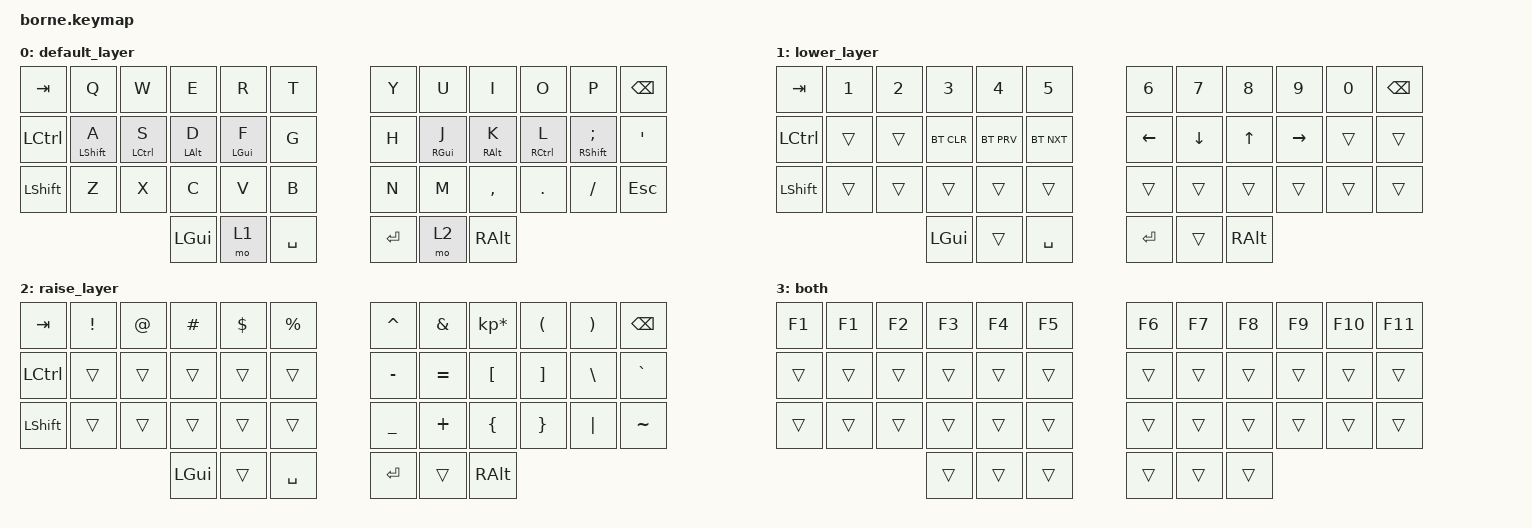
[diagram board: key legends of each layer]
/*
 * Copyright (c) 2020 The ZMK Contributors
 *
 * SPDX-License-Identifier: MIT
 */

#include <behaviors.dtsi>
#include <dt-bindings/zmk/bt.h>
#include <dt-bindings/zmk/keys.h>

/ {
    behaviors {
        hml: homerow_mods_left {
            compatible = "zmk,behavior-hold-tap";
            label = "HOMEROW_MODS_LEFT_HAND";
            bindings = <&kp>, <&kp>;

            #binding-cells = <2>;
            hold-trigger-key-positions = <6 7 8 9 10 11 18 19 20 21 22 23 30 31 32 33 34 35 39 40 41>;
            hold-trigger-on-release;
            tapping-term-ms = <280>;
            quick-tap-ms = <175>;
            require-prior-idle-ms = <150>;
            flavor = "balanced";
        };

        hmr: homerow_mods_right {
            compatible = "zmk,behavior-hold-tap";
            label = "HOMEROW_MODS_RIGHT_HAND";
            bindings = <&kp>, <&kp>;

            #binding-cells = <2>;
            hold-trigger-on-release;
            tapping-term-ms = <280>;
            quick-tap-ms = <175>;
            require-prior-idle-ms = <150>;
            flavor = "balanced";
            hold-trigger-key-positions = <0 1 2 3 4 5 12 13 14 15 16 17 24 25 26 27 28 29 36 37 38>;
        };
    };

    keymap {
        compatible = "zmk,keymap";

        default_layer {
            // -----------------------------------------------------------------------------------------
            // |  TAB |  Q  |  W  |  E  |  R  |  T  |   |  Y  |  U   |  I  |  O  |  P  | BKSP |
            // | CTRL |  A  |  S  |  D  |  F  |  G  |   |  H  |  J   |  K  |  L  |  ;  |  '   |
            // | SHFT |  Z  |  X  |  C  |  V  |  B  |   |  N  |  M   |  ,  |  .  |  /  | ESC  |
            //                    | GUI | LWR | SPC |   | ENT | RSE  | ALT |

            bindings = <
&kp TAB    &kp Q              &kp W                &kp E            &kp R            &kp T        &kp Y    &kp U             &kp I             &kp O                 &kp P                  &kp BSPC
&kp LCTRL  &hml LEFT_SHIFT A  &hml LEFT_CONTROL S  &hml LEFT_ALT D  &hml LEFT_GUI F  &kp G        &kp H    &hmr RIGHT_GUI J  &hmr RIGHT_ALT K  &hmr RIGHT_CONTROL L  &hmr RIGHT_SHIFT SEMI  &kp SQT
&kp LSHFT  &kp Z              &kp X                &kp C            &kp V            &kp B        &kp N    &kp M             &kp COMMA         &kp DOT               &kp FSLH               &kp ESC
                                                   &kp LGUI         &mo 1            &kp SPACE    &kp RET  &mo 2             &kp RALT
            >;
        };

        lower_layer {
            // -----------------------------------------------------------------------------------------
            // |  TAB |  1  |  2  |  3  |  4  |  5  |   |  6  |  7  |  8  |  9  |  0  | BKSP |
            // | LCTRL|     |     | BTCLR | BTPRV | BTNXT |   | LFT | DWN |  UP | RGT |     |      |
            // | SHFT |     |     |     |     |     |   |     |     |     |     |     |      |
            //                    | GUI |     | SPC |   | ENT |     | ALT |

            bindings = <
&kp TAB    &kp N1  &kp N2  &kp N3      &kp N4      &kp N5        &kp N6    &kp N7    &kp N8    &kp N9     &kp N0  &kp BSPC
&kp LCTRL  &trans  &trans  &bt BT_CLR  &bt BT_PRV  &bt BT_NXT    &kp LEFT  &kp DOWN  &kp UP    &kp RIGHT  &trans  &trans
&kp LSHFT  &trans  &trans  &trans      &trans      &trans        &trans    &trans    &trans    &trans     &trans  &trans
                           &kp LGUI    &trans      &kp SPACE     &kp RET   &trans    &kp RALT
            >;
        };

        raise_layer {
            // -----------------------------------------------------------------------------------------
            // |  TAB |  !  |  @  |  #  |  $  |  %  |   |  ^  |  &  |  *  |  (  |  )  | BKSP |
            // | CTRL |     |     |     |     |     |   |  -  |  =  |  [  |  ]  |  \  |  `   |
            // | SHFT |     |     |     |     |     |   |  _  |  +  |  {  |  }  | "|" |  ~   |
            //                    | GUI |     | SPC |   | ENT |     | ALT |

            bindings = <
&kp TAB    &kp EXCL  &kp AT  &kp HASH  &kp DLLR  &kp PRCNT    &kp CARET  &kp AMPS   &kp KP_MULTIPLY  &kp LPAR  &kp RPAR  &kp BSPC
&kp LCTRL  &trans    &trans  &trans    &trans    &trans       &kp MINUS  &kp EQUAL  &kp LBKT         &kp RBKT  &kp BSLH  &kp GRAVE
&kp LSHFT  &trans    &trans  &trans    &trans    &trans       &kp UNDER  &kp PLUS   &kp LBRC         &kp RBRC  &kp PIPE  &kp TILDE
                             &kp LGUI  &trans    &kp SPACE    &kp RET    &trans     &kp RALT
            >;
        };

        both {
            bindings = <
&kp F1  &kp F1  &kp F2  &kp F3  &kp F4  &kp F5    &kp F6  &kp F7  &kp F8  &kp F9  &kp F10  &kp F11
&trans  &trans  &trans  &trans  &trans  &trans    &trans  &trans  &trans  &trans  &trans   &trans
&trans  &trans  &trans  &trans  &trans  &trans    &trans  &trans  &trans  &trans  &trans   &trans
                        &trans  &trans  &trans    &trans  &trans  &trans
            >;
        };
    };

    conditional_layers {
        compatible = "zmk,conditional-layers";

        trilayer {
            if-layers = <1 2>;
            then-layer = <3>;
        };
    };
};
